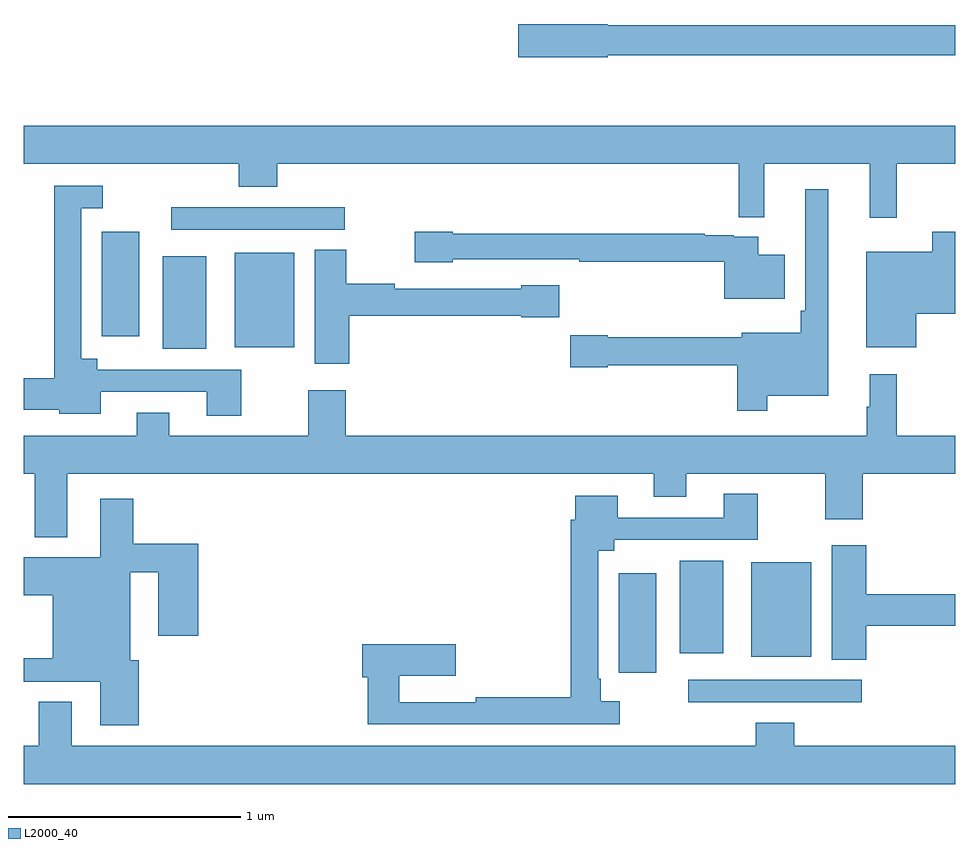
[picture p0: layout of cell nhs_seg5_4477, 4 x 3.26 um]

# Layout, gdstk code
import gdstk
lib = gdstk.Library(unit=1e-6, precision=1e-09)
def R(c, l, rs):  # rectangles x0, y0, x1, y1
    for r in rs: c.add(gdstk.rectangle(r[:2], r[2:], *l))
def P(c, l, *ps):  # polygons
    for p in ps: c.add(gdstk.Polygon(p, *l))
L2000_40 = (2000, 40)

nhs_seg5_4477 = lib.new_cell('nhs_seg5_4477')
R(nhs_seg5_4477, L2000_40, [(377.853,835.8,378.598,835.896), (377.555,835.926,377.716,836.353), (378.125,835.994,378.382,836.401), (377.816,836.009,378.004,836.407), (375.596,837.317,375.784,837.715), (375.905,837.323,376.162,837.73), (375.335,837.372,375.496,837.82), (375.633,837.828,376.378,837.924)])
P(nhs_seg5_4477, L2000_40, [(377.508,838.578),(379,838.578),(379,838.706),(377.508,838.706),(377.508,838.712),(377.124,838.712),(377.124,838.57),(377.508,838.57)],
  [(378.749,838.112),(379,838.112),(379,838.276),(375,838.276),(375,838.112),(375.923,838.112),(375.923,838.013),(376.088,838.013),(376.088,838.112),(378.07,838.112),(378.07,837.883),(378.179,837.883),(378.179,838.112),(378.632,838.112),(378.632,837.879),(378.749,837.879)],
  [(375.933,837.228),(375.316,837.228),(375.316,837.274),(375.246,837.274),(375.246,837.921),(375.34,837.921),(375.34,838.017),(375.13,838.017),(375.13,837.191),(375,837.191),(375,837.056),(375.153,837.056),(375.153,837.038),(375.331,837.038),(375.331,837.132),(375.785,837.132),(375.785,837.03),(375.933,837.03)],
  [(378.193,837.116),(378.454,837.116),(378.454,838.003),(378.357,838.003),(378.357,837.481),(378.337,837.481),(378.337,837.385),(378.083,837.385),(378.083,837.367),(377.508,837.367),(377.508,837.375),(377.346,837.375),(377.346,837.238),(377.508,837.238),(377.508,837.246),(378.064,837.246),(378.064,837.051),(378.193,837.051)],
  [(378.832,837.467),(379,837.467),(379,837.82),(378.901,837.82),(378.901,837.733),(378.617,837.733),(378.617,837.323),(378.832,837.323)],
  [(378.268,837.721),(378.154,837.721),(378.154,837.798),(378.05,837.798),(378.05,837.804),(377.924,837.804),(377.924,837.811),(376.842,837.811),(376.842,837.819),(376.68,837.819),(376.68,837.689),(376.842,837.689),(376.842,837.702),(377.386,837.702),(377.386,837.69),(378.008,837.69),(378.008,837.533),(378.268,837.533)],
  [(376.397,837.46),(377.136,837.46),(377.136,837.452),(377.299,837.452),(377.299,837.589),(377.136,837.589),(377.136,837.576),(376.592,837.576),(376.592,837.596),(376.384,837.596),(376.384,837.743),(376.25,837.743),(376.25,837.252),(376.397,837.252)],
  [(375.187,836.78),(377.705,836.78),(377.705,836.681),(377.845,836.681),(377.845,836.78),(378.442,836.78),(378.442,836.586),(378.602,836.586),(378.602,836.78),(379,836.78),(379,836.944),(378.749,836.944),(378.749,837.208),(378.632,837.208),(378.632,837.068),(378.621,837.068),(378.621,836.944),(376.382,836.944),(376.382,837.139),(376.222,837.139),(376.222,836.944),(375.625,836.944),(375.625,837.043),(375.485,837.043),(375.485,836.944),(375,836.944),(375,836.78),(375.047,836.78),(375.047,836.507),(375.187,836.507)],
  [(377.56,835.804),(377.478,835.804),(377.478,835.9),(377.466,835.9),(377.466,836.45),(377.536,836.45),(377.536,836.496),(378.153,836.496),(378.153,836.695),(378.005,836.695),(378.005,836.592),(377.551,836.592),(377.551,836.686),(377.369,836.686),(377.369,836.582),(377.35,836.582),(377.35,835.82),(376.942,835.82),(376.942,835.8),(376.613,835.8),(376.613,835.913),(376.855,835.913),(376.855,836.048),(376.454,836.048),(376.454,835.906),(376.477,835.906),(376.477,835.704),(377.56,835.704)],
  [(375.494,835.98),(375.457,835.98),(375.457,836.358),(375.578,836.358),(375.578,836.085),(375.749,836.085),(375.749,836.479),(375.47,836.479),(375.47,836.674),(375.329,836.674),(375.329,836.422),(375,836.422),(375,836.258),(375.125,836.258),(375.125,835.988),(375,835.988),(375,835.887),(375.329,835.887),(375.329,835.701),(375.494,835.701)],
  [(378.617,836.128),(379,836.128),(379,836.264),(378.617,836.264),(378.617,836.473),(378.47,836.473),(378.47,835.981),(378.617,835.981)],
  [(379,835.612),(378.308,835.612),(378.308,835.711),(378.143,835.711),(378.143,835.612),(375.205,835.612),(375.205,835.802),(375.065,835.802),(375.065,835.612),(375,835.612),(375,835.448),(379,835.448)])

lib.write_gds('nhs_seg5_4477.gds')
